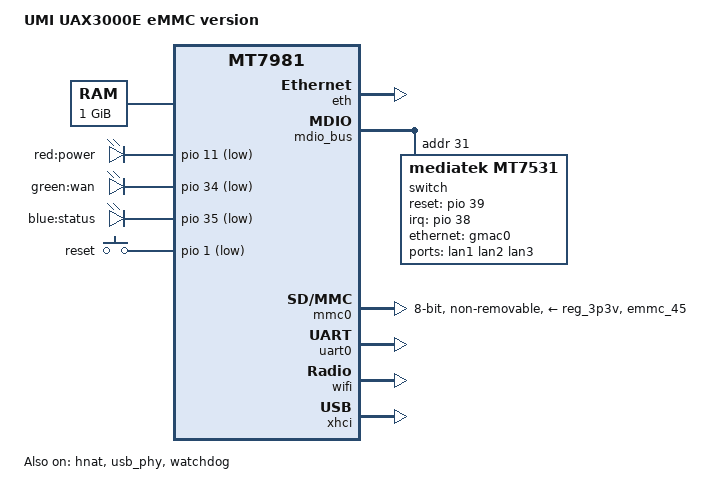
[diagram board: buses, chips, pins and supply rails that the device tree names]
// SPDX-License-Identifier: GPL-2.0-or-later OR MIT
//
// UMI UAX3000E (eMMC version)
// 由 24.10 源码 openwrt-24.10-6.6 的 mt7981b-umi-uax3000e.dts 移植
// 适配 25.12（chasey-dev/immortalwrt-mt798x-rebase, kernel 6.12）：
//   - include 由 "mt7981.dtsi" 改为 "mt7981b.dtsi"（25.12 统一使用 mt7981b.dtsi）
//   - &wifi 显式 status = "okay"
//   - hnat 外部设备属性由 ext-devices-prefix 改为 25.12 驱动的 ext-devices（接口名列表）

/dts-v1/;
#include <dt-bindings/gpio/gpio.h>
#include <dt-bindings/input/input.h>
#include <dt-bindings/leds/common.h>

#include "mt7981b.dtsi"

/ {
	model = "UMI UAX3000E eMMC version";
	compatible = "umi,uax3000e", "mediatek,mt7981";

	aliases {
		led-boot = &red_led;
		led-failsafe = &red_led;
		led-running = &green_led;
		led-upgrade = &blue_led;
		serial0 = &uart0;
	};

	chosen {
		bootargs = "root=PARTLABEL=rootfs rootwait rootfstype=squashfs,f2fs";
		stdout-path = "serial0:115200n8";
	};

	memory@40000000 {
		reg = <0 0x40000000 0 0x40000000>;
		device_type = "memory";
	};

	gpio-leds {
		compatible = "gpio-leds";

		red_led: led-0 {
			label = "red:power";
			gpios = <&pio 11 GPIO_ACTIVE_LOW>;
		};

		green_led: led-1 {
			label = "green:wan";
			gpios = <&pio 34 GPIO_ACTIVE_LOW>;
		};

		blue_led: led-2 {
			label = "blue:status";
			gpios = <&pio 35 GPIO_ACTIVE_LOW>;
		};
	};

	gpio-keys {
		compatible = "gpio-keys";

		reset {
			label = "reset";
			linux,code = <KEY_RESTART>;
			gpios = <&pio 1 GPIO_ACTIVE_LOW>;
		};
	};
};

&eth {
	status = "okay";

	gmac0: mac@0 {
		compatible = "mediatek,eth-mac";
		reg = <0>;
		phy-mode = "2500base-x";

		fixed-link {
			speed = <2500>;
			full-duplex;
			pause;
		};
	};

	gmac1: mac@1 {
		compatible = "mediatek,eth-mac";
		reg = <1>;
		phy-mode = "gmii";
		phy-handle = <&int_gbe_phy>;
	};
};

&mdio_bus {
	switch: switch@1f {
		compatible = "mediatek,mt7531";
		reg = <31>;
		reset-gpios = <&pio 39 GPIO_ACTIVE_HIGH>;
		interrupt-controller;
		#interrupt-cells = <1>;
		interrupt-parent = <&pio>;
		interrupts = <38 IRQ_TYPE_LEVEL_HIGH>;
	};
};

&switch {
	ports {
		#address-cells = <1>;
		#size-cells = <0>;

		port@0 {
			reg = <0>;
			label = "lan1";
		};

		port@1 {
			reg = <1>;
			label = "lan2";
		};

		port@2 {
			reg = <2>;
			label = "lan3";
		};

		port@6 {
			reg = <6>;
			ethernet = <&gmac0>;
			phy-mode = "2500base-x";

			fixed-link {
				speed = <2500>;
				full-duplex;
				pause;
			};
		};
	};
};

&hnat {
	mtketh-wan = "eth1";
	mtketh-lan = "eth0";
	mtketh-max-gmac = <2>;
	ext-devices = "usb0", "usb1", "wwan0";
	status = "okay";
};

&mmc0 {
	bus-width = <8>;
	cap-mmc-highspeed;
	max-frequency = <52000000>;
	no-sd;
	no-sdio;
	non-removable;
	pinctrl-names = "default", "state_uhs";
	pinctrl-0 = <&mmc0_pins_default>;
	pinctrl-1 = <&mmc0_pins_uhs>;
	vmmc-supply = <&reg_3p3v>;
	status = "okay";
};

&pio {
	mmc0_pins_default: mmc0-pins-default {
		mux {
			function = "flash";
			groups = "emmc_45";
		};
	};

	mmc0_pins_uhs: mmc0-pins-uhs {
		mux {
			function = "flash";
			groups = "emmc_45";
		};
	};
};

&uart0 {
	status = "okay";
};

&usb_phy {
	status = "okay";
};

&watchdog {
	status = "okay";
};

&wifi {
	status = "okay";
};

&xhci {
	status = "okay";
};
